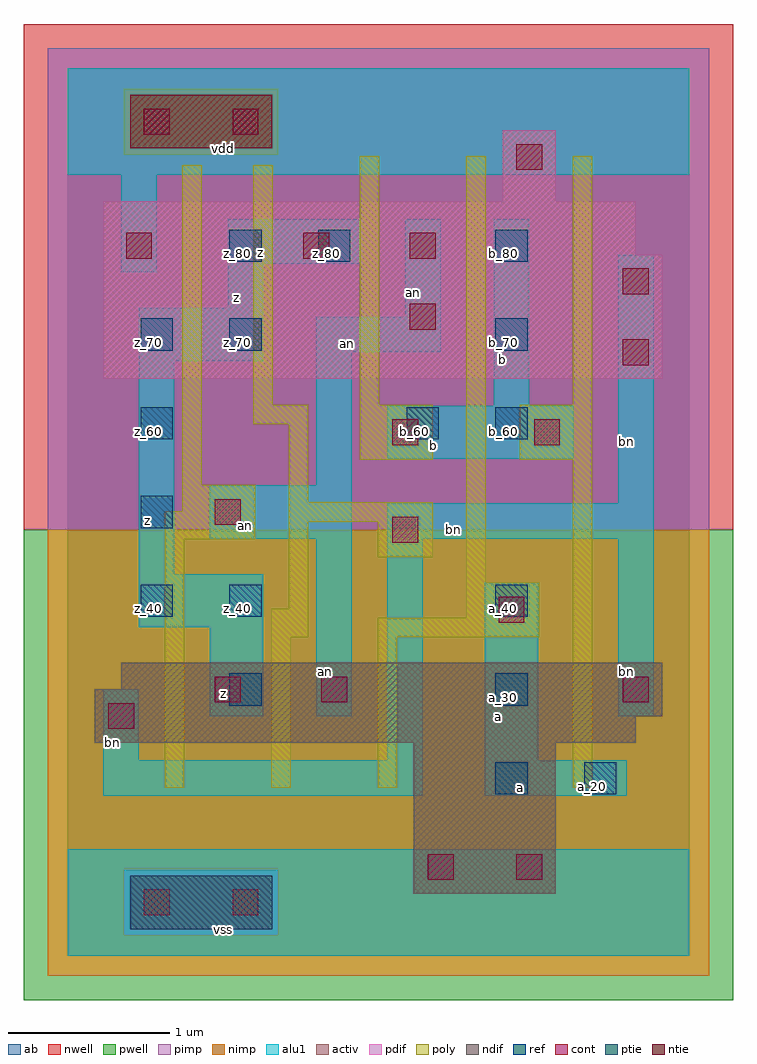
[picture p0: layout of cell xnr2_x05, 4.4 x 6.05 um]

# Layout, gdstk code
import gdstk
lib = gdstk.Library(unit=1e-6, precision=2.5e-09)
def R(c, l, rs):  # rectangles x0, y0, x1, y1
    for r in rs: c.add(gdstk.rectangle(r[:2], r[2:], *l))
def A(c, l, x, y, w, h, nx, ny, dx, dy):  # array of equal rectangles
    R(c, l, [(x+i*dx, y+j*dy, x+i*dx+w, y+j*dy+h) for i in range(nx) for j in range(ny)])
ndif = (3, 0)
pdif = (4, 0)
ntie = (5, 0)
ptie = (6, 0)
ref = (24, 0)
cont = (25, 0)
pwell = (41, 0)
nwell = (42, 0)
activ = (43, 0)
pimp = (44, 0)
nimp = (45, 0)
poly = (46, 0)
alu1 = (49, 0)
ab = (63, 0)

xnr2_x05 = lib.new_cell('xnr2_x05')
R(xnr2_x05, ndif, [(2.145,0.385,3.025,1.32), (0.165,1.32,3.52,1.485), (0.165,1.485,3.685,1.65), (0.33,1.65,3.685,1.815)])
R(xnr2_x05, pdif, [(0.22,3.575,3.685,4.345), (0.22,4.345,3.52,4.675), (2.695,4.675,3.025,5.115)])
R(xnr2_x05, ntie, [(0.385,5.005,1.265,5.335)])
R(xnr2_x05, ptie, [(0.385,0.165,1.265,0.495)])
A(xnr2_x05, ref, 2.65, 1, 0.2, 0.2, 1, 3, 0, 0.55)
A(xnr2_x05, ref, 0.45, 2.1, 0.2, 0.2, 1, 4, 0, 0.55)
A(xnr2_x05, ref, 2.65, 3.2, 0.2, 0.2, 1, 3, 0, 0.55)
R(xnr2_x05, ref, [(3.2,1,3.4,1.2), (1,1.55,1.2,1.75), (1,2.1,1.2,2.3), (2.1,3.2,2.3,3.4), (1,3.75,1.2,3.95), (1,4.3,1.2,4.5), (1.55,4.3,1.75,4.5)])
R(xnr2_x05, cont, [(0.47,0.25,0.63,0.41), (1.02,0.25,1.18,0.41), (2.23,0.47,2.39,0.63), (2.78,0.47,2.94,0.63), (0.25,1.405,0.41,1.565), (0.91,1.57,1.07,1.73), (1.57,1.57,1.73,1.73), (3.44,1.57,3.6,1.73), (2.67,2.065,2.83,2.225), (2.01,2.56,2.17,2.72), (0.91,2.67,1.07,2.83), (2.01,3.165,2.17,3.325), (2.89,3.165,3.05,3.325), (3.44,3.66,3.6,3.82), (2.12,3.88,2.28,4.04), (3.44,4.1,3.6,4.26), (0.36,4.32,0.52,4.48), (1.46,4.32,1.62,4.48), (2.12,4.32,2.28,4.48), (2.78,4.87,2.94,5.03), (0.47,5.09,0.63,5.25), (1.02,5.09,1.18,5.25)])
R(xnr2_x05, pwell, [(-0.275,-0.275,4.125,2.64)])
R(xnr2_x05, nwell, [(-0.275,2.64,4.125,5.775)])
R(xnr2_x05, activ, [(0.385,0.165,1.265,0.495), (2.145,0.385,3.025,1.32), (0.165,1.32,3.52,1.485), (0.165,1.485,3.685,1.65), (0.33,1.65,3.685,1.815), (0.22,3.575,3.685,4.345), (0.22,4.345,3.52,4.675), (2.695,4.675,3.025,5.115), (0.385,5.005,1.265,5.335)])
R(xnr2_x05, pimp, [(0.345,0.125,1.305,0.535), (-0.125,2.64,3.975,4.965), (-0.125,4.965,0.345,5.375), (1.305,4.965,3.975,5.375), (-0.125,5.375,3.975,5.625)])
R(xnr2_x05, nimp, [(-0.125,-0.125,3.975,0.125), (-0.125,0.125,0.345,0.535), (1.305,0.125,3.975,0.535), (-0.125,0.535,3.975,2.64), (0.345,4.965,1.305,5.375)])
R(xnr2_x05, poly, [(0.6,1.04,0.72,2.58), (1.26,1.04,1.38,1.975), (1.92,1.04,2.04,1.975), (3.13,1.04,3.25,3.075), (1.26,1.975,1.49,2.15), (1.92,1.975,2.92,2.095), (2.47,2.095,2.92,2.315), (1.37,2.15,1.49,2.69), (2.47,2.315,2.59,4.955), (1.92,2.47,2.26,2.69), (0.6,2.58,1.16,2.755), (1.37,2.69,2.26,2.81), (0.71,2.755,1.16,2.92), (1.37,2.81,1.49,3.295), (0.71,2.92,0.83,4.9), (1.81,3.075,2.26,3.415), (2.8,3.075,3.25,3.415), (1.15,3.295,1.49,3.415), (1.15,3.415,1.27,4.9), (1.81,3.415,1.93,4.955), (3.13,3.415,3.25,4.955)])
R(xnr2_x05, alu1, [(0,0,3.85,0.66), (0.22,0.99,2.2,1.21), (2.585,0.99,3.465,1.21), (0.22,1.21,0.44,1.65), (1.98,1.21,2.2,2.585), (2.585,1.21,2.915,2.31), (0.88,1.485,1.21,2.035), (1.54,1.485,1.76,2.585), (3.41,1.485,3.63,2.585), (0.44,2.035,1.21,2.365), (0.44,2.365,0.66,3.685), (0.88,2.585,1.76,2.915), (1.98,2.585,3.63,2.805), (3.41,2.805,3.63,4.345), (1.54,2.915,1.76,3.74), (1.98,3.08,3.135,3.41), (2.64,3.41,2.86,4.565), (0.44,3.685,1.21,4.015), (1.54,3.74,2.31,3.96), (2.09,3.96,2.31,4.565), (0.99,4.015,1.21,4.29), (0.33,4.235,0.55,4.84), (0.99,4.29,1.815,4.565), (0,4.84,3.85,5.5)])
R(xnr2_x05, ab, [(0,0,3.85,5.5)])
xnr2_x05.add(gdstk.Label('vss', (0.9625,0.165), layer=49, texttype=0))
xnr2_x05.add(gdstk.Label('a', (2.805,1.045), layer=49, texttype=0))
xnr2_x05.add(gdstk.Label('bn', (3.465,1.76), layer=49, texttype=0))
xnr2_x05.add(gdstk.Label('a', (2.6675,1.485), layer=49, texttype=0))
xnr2_x05.add(gdstk.Label('bn', (2.3925,2.64), layer=49, texttype=0))
xnr2_x05.add(gdstk.Label('an', (1.595,1.76), layer=49, texttype=0))
xnr2_x05.add(gdstk.Label('z', (0.9625,1.6225), layer=49, texttype=0))
xnr2_x05.add(gdstk.Label('bn', (0.275,1.32), layer=49, texttype=0))
xnr2_x05.add(gdstk.Label('bn', (3.465,3.19), layer=49, texttype=0))
xnr2_x05.add(gdstk.Label('an', (1.1,2.6675), layer=49, texttype=0))
xnr2_x05.add(gdstk.Label('b', (2.2675,3.1625), layer=49, texttype=0))
xnr2_x05.add(gdstk.Label('b', (2.695,3.6975), layer=49, texttype=0))
xnr2_x05.add(gdstk.Label('z', (0.495,2.695), layer=49, texttype=0))
xnr2_x05.add(gdstk.Label('an', (1.7325,3.795), layer=49, texttype=0))
xnr2_x05.add(gdstk.Label('an', (2.145,4.11), layer=49, texttype=0))
xnr2_x05.add(gdstk.Label('z', (1.045,4.0825), layer=49, texttype=0))
xnr2_x05.add(gdstk.Label('z', (1.195,4.3575), layer=49, texttype=0))
xnr2_x05.add(gdstk.Label('vdd', (0.9625,5.005), layer=49, texttype=0))
xnr2_x05.add(gdstk.Label('a_20', (3.25,1.05), layer=24, texttype=0))
xnr2_x05.add(gdstk.Label('a_20', (2.7,1.05), layer=24, texttype=0))
xnr2_x05.add(gdstk.Label('a_40', (2.7,2.15), layer=24, texttype=0))
xnr2_x05.add(gdstk.Label('z_40', (1.05,2.15), layer=24, texttype=0))
xnr2_x05.add(gdstk.Label('z_30', (1.05,1.6), layer=24, texttype=0))
xnr2_x05.add(gdstk.Label('z_70', (0.5,3.8), layer=24, texttype=0))
xnr2_x05.add(gdstk.Label('z_40', (0.5,2.15), layer=24, texttype=0))
xnr2_x05.add(gdstk.Label('z_50', (0.5,2.7), layer=24, texttype=0))
xnr2_x05.add(gdstk.Label('z_60', (0.5,3.25), layer=24, texttype=0))
xnr2_x05.add(gdstk.Label('z_80', (1.6,4.35), layer=24, texttype=0))
xnr2_x05.add(gdstk.Label('a_30', (2.7,1.6), layer=24, texttype=0))
xnr2_x05.add(gdstk.Label('z_80', (1.05,4.35), layer=24, texttype=0))
xnr2_x05.add(gdstk.Label('b_60', (2.7,3.25), layer=24, texttype=0))
xnr2_x05.add(gdstk.Label('b_60', (2.15,3.25), layer=24, texttype=0))
xnr2_x05.add(gdstk.Label('b_80', (2.7,4.35), layer=24, texttype=0))
xnr2_x05.add(gdstk.Label('b_70', (2.7,3.8), layer=24, texttype=0))
xnr2_x05.add(gdstk.Label('z_70', (1.05,3.8), layer=24, texttype=0))

lib.write_gds('xnr2_x05.gds')
